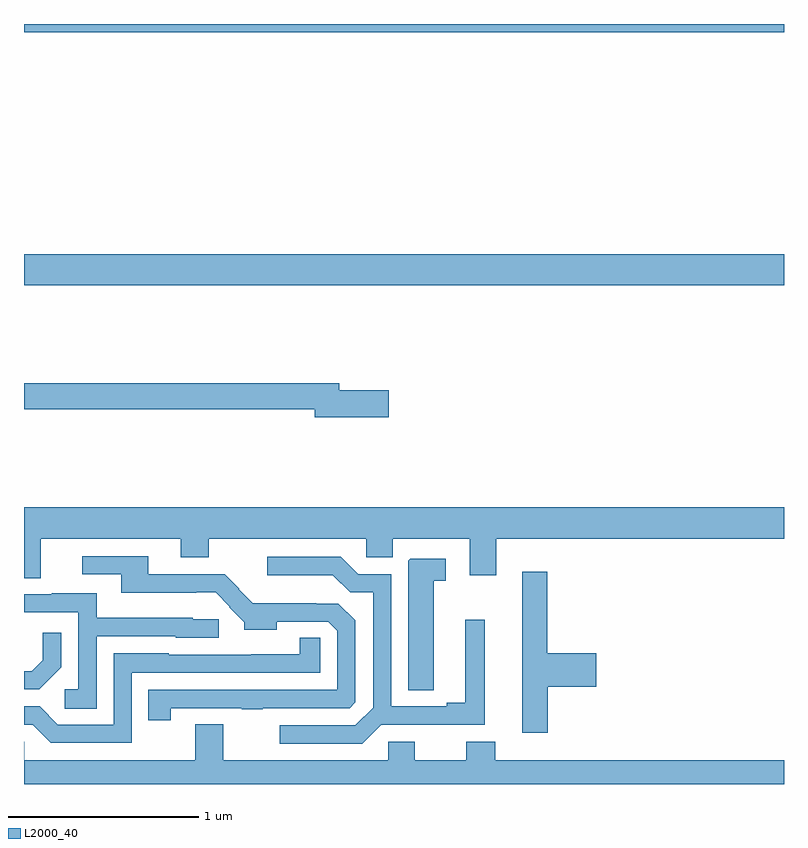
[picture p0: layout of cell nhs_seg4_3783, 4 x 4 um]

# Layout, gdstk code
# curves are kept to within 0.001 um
import gdstk
lib = gdstk.Library(unit=1e-6, precision=1e-09)
def R(c, l, rs):  # rectangles x0, y0, x1, y1
    for r in rs: c.add(gdstk.rectangle(r[:2], r[2:], *l))
def P(c, l, *ps):  # polygons
    for p in ps: c.add(gdstk.Polygon(p, *l))
L2000_40 = (2000, 40)

nhs_seg4_3783 = lib.new_cell('nhs_seg4_3783')
R(nhs_seg4_3783, L2000_40, [(311,759.524,315,759.688), (311,760.856,315,760.9)])
P(nhs_seg4_3783, L2000_40, [(312.919,758.972),(312.658,758.972),(312.658,759.008),(311,759.008),(311,758.872),(312.53,758.872),(312.53,758.83),(312.919,758.83)],
  [(311.089,758.192),(311.825,758.192),(311.825,758.093),(311.973,758.093),(311.973,758.192),(312.801,758.192),(312.801,758.094),(312.94,758.094),(312.94,758.192),(313.346,758.192),(313.346,757.998),(313.486,757.998),(313.486,758.192),(315,758.192),(315,758.356),(311,758.356),(311,757.984),(311.089,757.984)],
  [(311.772,757.299),(312.145,757.299),(312.145,757.294),(312.257,757.294),(312.257,757.299),(312.714,757.299),(312.744,757.329),(312.744,757.761),(312.655,757.85),(312.539,757.85),(312.539,757.852),(312.205,757.852),(312.131,757.925),(312.133,757.927),(312.057,758.004),(311.653,758.004),(311.653,758.1),(311.307,758.1),(311.307,758.004),(311.513,758.004),(311.513,757.907),(311.906,757.907),(311.906,757.91),(312.008,757.91),(312.084,757.833),(312.081,757.83),(312.16,757.752),(312.16,757.712),(312.331,757.712),(312.331,757.755),(312.6,757.755),(312.648,757.707),(312.648,757.395),(311.653,757.395),(311.653,757.236),(311.772,757.236)],
  [(312.88,757.212),(313.426,757.212),(313.426,757.765),(313.322,757.765),(313.322,757.328),(313.226,757.328),(313.226,757.308),(312.933,757.308),(312.933,758.004),(312.759,758.004),(312.666,758.097),(312.279,758.097),(312.279,758),(312.625,758),(312.716,757.909),(312.837,757.909),(312.837,757.302),(312.744,757.209),(312.345,757.209),(312.345,757.113),(312.781,757.113)],
  [(313.156,757.969),(313.219,757.969),(313.219,758.085),(313.032,758.085),(313.022,758.075),(313.022,757.393),(313.156,757.393)],
  [(313.757,757.411),(314.011,757.411),(314.011,757.589),(313.754,757.589),(313.754,758.017),(313.622,758.017),(313.622,757.17),(313.757,757.17)],
  [(311.382,757.677),(311.799,757.677),(311.799,757.671),(312.024,757.671),(312.024,757.767),(311.889,757.767),(311.889,757.774),(311.383,757.774),(311.383,757.903),(311.147,757.903),(311.147,757.899),(311,757.899),(311,757.803),(311.286,757.803),(311.286,757.398),(311.214,757.398),(311.214,757.297),(311.382,757.297)],
  [(311.196,757.514),(311.196,757.696),(311.099,757.696),(311.099,757.551),(311.042,757.494),(311,757.494),(311,757.398),(311.08,757.398)],
  [(311.568,757.485),(312.558,757.485),(312.558,757.67),(312.45,757.67),(312.45,757.582),(311.763,757.581),(311.763,757.588),(311.472,757.588),(311.472,757.212),(311.178,757.212),(311.082,757.308),(311,757.308),(311,757.212),(311.046,757.212),(311.142,757.116),(311.568,757.116)],
  [(315,757.024),(313.481,757.024),(313.481,757.123),(313.328,757.123),(313.328,757.024),(313.057,757.024),(313.057,757.122),(312.918,757.122),(312.918,757.024),(312.049,757.024),(312.049,757.214),(311.902,757.214),(311.902,757.024),(311.001,757.024),(311.001,757.122),(311,757.122),(311,756.9),(315,756.9)])

lib.write_gds('nhs_seg4_3783.gds')
